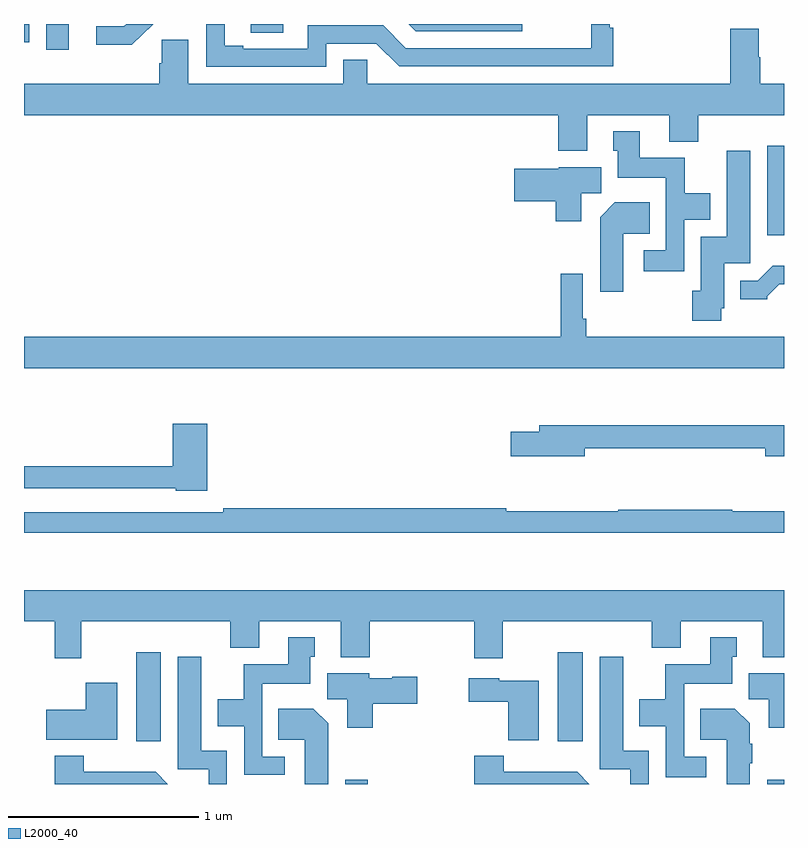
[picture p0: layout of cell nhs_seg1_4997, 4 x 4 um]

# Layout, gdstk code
import gdstk
lib = gdstk.Library(unit=1e-6, precision=1e-09)
def R(c, l, rs):  # rectangles x0, y0, x1, y1
    for r in rs: c.add(gdstk.rectangle(r[:2], r[2:], *l))
def P(c, l, *ps):  # polygons
    for p in ps: c.add(gdstk.Polygon(p, *l))
L2000_40 = (2000, 40)

nhs_seg1_4997 = lib.new_cell('nhs_seg1_4997')
R(nhs_seg1_4997, L2000_40, [(382.692,560.199,382.808,560.221), (384.912,560.199,385,560.221), (381.59,560.424,381.721,560.893), (383.81,560.424,383.941,560.893), (384.911,563.088,385,563.557), (381.117,564.063,381.235,564.199), (381,564.102,381.027,564.199), (382.194,564.154,382.364,564.199), (383.745,564.198,383.9,564.199)])
P(nhs_seg1_4997, L2000_40, [(383.622,564.199),(383.024,564.199),(383.061,564.162),(383.622,564.162)],
  [(382.59,564.096),(382.854,564.096),(382.974,563.976),(384.101,563.976),(384.101,564.179),(384.084,564.179),(384.084,564.199),(383.985,564.199),(383.985,564.072),(383.01,564.072),(382.89,564.192),(382.494,564.192),(382.494,564.069),(382.153,564.069),(382.153,564.084),(382.057,564.084),(382.057,564.199),(381.96,564.199),(381.96,563.973),(382.59,563.973)],
  [(381.679,564.199),(381.538,564.199),(381.525,564.186),(381.381,564.186),(381.381,564.089),(381.568,564.089)],
  [(383.965,563.72),(384.395,563.72),(384.395,563.579),(384.548,563.579),(384.548,563.72),(385,563.72),(385,563.884),(384.876,563.884),(384.876,564.023),(384.868,564.023),(384.868,564.173),(384.716,564.173),(384.716,563.884),(382.806,563.884),(382.806,564.011),(382.679,564.011),(382.679,563.884),(381.865,563.884),(381.865,564.116),(381.726,564.116),(381.726,563.993),(381.713,563.993),(381.713,563.884),(381,563.884),(381,563.72),(383.813,563.72),(383.813,563.531),(383.965,563.531)],
  [(384.474,563.168),(384.613,563.168),(384.613,563.308),(384.477,563.308),(384.477,563.494),(384.241,563.494),(384.241,563.635),(384.101,563.635),(384.101,563.532),(384.125,563.532),(384.125,563.39),(384.378,563.39),(384.378,563.007),(384.261,563.007),(384.261,562.899),(384.474,562.899)],
  [(384.669,562.704),(384.685,562.704),(384.685,562.941),(384.823,562.941),(384.823,563.533),(384.698,563.533),(384.698,563.08),(384.563,563.08),(384.563,562.794),(384.517,562.794),(384.517,562.638),(384.669,562.638)],
  [(383.932,563.308),(384.037,563.308),(384.037,563.446),(383.814,563.446),(383.814,563.437),(383.58,563.437),(383.58,563.267),(383.798,563.267),(383.798,563.16),(383.932,563.16)],
  [(384.154,563.096),(384.293,563.096),(384.293,563.26),(384.11,563.26),(384.032,563.182),(384.032,562.791),(384.154,562.791)],
  [(384.912,562.766),(384.976,562.83),(385,562.83),(385,562.927),(384.94,562.927),(384.861,562.848),(384.77,562.848),(384.77,562.751),(384.912,562.751)],
  [(385,562.552),(383.96,562.552),(383.96,562.648),(383.94,562.648),(383.94,562.885),(383.824,562.885),(383.824,562.552),(381,562.552),(381,562.388),(385,562.388)],
  [(381.965,562.096),(381.782,562.096),(381.782,561.872),(381,561.872),(381,561.756),(381.798,561.756),(381.798,561.743),(381.965,561.743)],
  [(383.95,561.966),(384.902,561.966),(384.902,561.923),(385,561.923),(385,562.087),(383.711,562.087),(383.711,562.053),(383.562,562.053),(383.562,561.923),(383.95,561.923)],
  [(385,561.635),(384.728,561.635),(384.728,561.643),(384.128,561.643),(384.128,561.635),(383.538,561.635),(383.538,561.65),(382.048,561.65),(382.048,561.63),(381,561.63),(381,561.522),(385,561.522)],
  [(381.301,561.056),(382.085,561.056),(382.085,560.915),(382.237,560.915),(382.237,561.056),(382.667,561.056),(382.667,560.867),(382.82,560.867),(382.82,561.056),(383.369,561.056),(383.369,560.862),(383.521,560.862),(383.521,561.056),(384.305,561.056),(384.305,560.915),(384.457,560.915),(384.457,561.056),(384.887,561.056),(384.887,560.867),(385,560.867),(385,561.22),(381,561.22),(381,561.056),(381.161,561.056),(381.161,560.862),(381.301,560.862)],
  [(384.592,560.343),(384.474,560.343),(384.474,560.726),(384.727,560.726),(384.727,560.868),(384.751,560.868),(384.751,560.971),(384.611,560.971),(384.611,560.83),(384.376,560.83),(384.376,560.644),(384.239,560.644),(384.239,560.504),(384.378,560.504),(384.378,560.235),(384.592,560.235)],
  [(382.372,560.343),(382.254,560.343),(382.254,560.726),(382.507,560.726),(382.507,560.868),(382.531,560.868),(382.531,560.971),(382.391,560.971),(382.391,560.83),(382.156,560.83),(382.156,560.644),(382.019,560.644),(382.019,560.504),(382.158,560.504),(382.158,560.247),(382.372,560.247)],
  [(384.288,560.374),(384.154,560.374),(384.154,560.869),(384.029,560.869),(384.029,560.277),(384.192,560.277),(384.192,560.199),(384.288,560.199)],
  [(382.068,560.374),(381.934,560.374),(381.934,560.869),(381.809,560.869),(381.809,560.277),(381.972,560.277),(381.972,560.199),(382.068,560.199)],
  [(382.835,560.621),(383.071,560.621),(383.071,560.763),(382.938,560.763),(382.938,560.755),(382.818,560.755),(382.818,560.782),(382.595,560.782),(382.595,560.644),(382.7,560.644),(382.7,560.496),(382.835,560.496)],
  [(385,560.782),(384.815,560.782),(384.815,560.644),(384.92,560.644),(384.92,560.496),(385,560.496)],
  [(383.71,560.743),(383.502,560.743),(383.502,560.755),(383.34,560.755),(383.34,560.633),(383.548,560.633),(383.548,560.429),(383.71,560.429)],
  [(381.49,560.731),(381.326,560.731),(381.326,560.59),(381.117,560.59),(381.117,560.432),(381.49,560.432)],
  [(382.6,560.518),(382.522,560.596),(382.339,560.596),(382.339,560.432),(382.478,560.432),(382.478,560.199),(382.6,560.199)],
  [(384.82,560.308),(384.833,560.308),(384.833,560.411),(384.82,560.411),(384.82,560.518),(384.742,560.596),(384.559,560.596),(384.559,560.432),(384.698,560.432),(384.698,560.199),(384.82,560.199)],
  [(383.913,560.263),(383.524,560.263),(383.524,560.347),(383.369,560.347),(383.369,560.199),(383.976,560.199)],
  [(381.693,560.263),(381.314,560.263),(381.314,560.347),(381.161,560.347),(381.161,560.199),(381.756,560.199)])

lib.write_gds('nhs_seg1_4997.gds')
